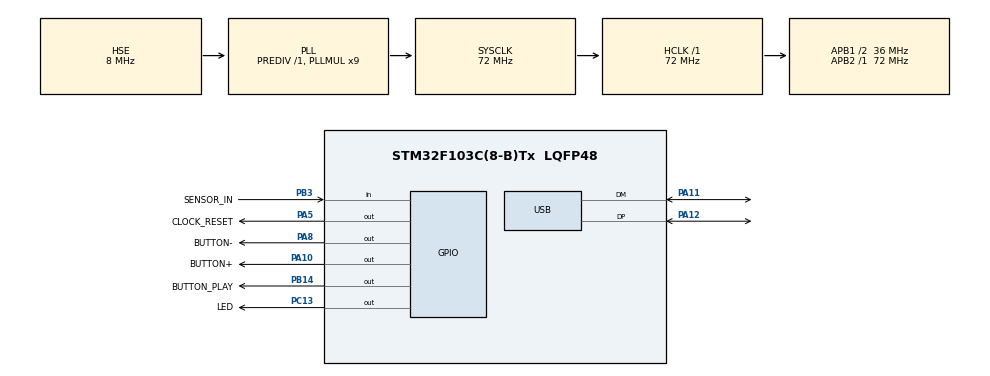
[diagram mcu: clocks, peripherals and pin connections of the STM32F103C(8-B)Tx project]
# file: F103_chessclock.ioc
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FREERTOS.MEMORY_ALLOCATION=1
FREERTOS.Tasks01=defaultTask,0,128,StartDefaultTask,Default,NULL,Static,defaultTaskBuffer,defaultTaskControlBlock;usbTask,0,128,StartUSBTask,Default,NULL,Static,usbTaskBuffer,usbTaskControlBlock
Mcu.Family=STM32F1
Mcu.Name=STM32F103C(8-B)Tx
Mcu.Package=LQFP48
NVIC.PriorityGroup=NVIC_PRIORITYGROUP_4
NVIC.TIM4_IRQn=true\:0\:0\:false\:false\:true\:false\:false\:true
NVIC.TimeBase=TIM4_IRQn
NVIC.TimeBaseIP=TIM4
NVIC.USB_LP_CAN1_RX0_IRQn=true\:5\:0\:false\:false\:true\:true\:false\:true
PA10.GPIO_Label=BUTTON+
PA10.Signal=GPIO_Output
PA11.Mode=Device
PA11.Signal=USB_DM
PA12.Mode=Device
PA12.Signal=USB_DP
PA13.Mode=Serial_Wire
PA13.Signal=SYS_JTMS-SWDIO
PA14.Mode=Serial_Wire
PA14.Signal=SYS_JTCK-SWCLK
PA5.GPIO_Label=CLOCK_RESET
PA5.GPIO_ModeDefaultOutputPP=GPIO_MODE_OUTPUT_OD
PA5.PinState=GPIO_PIN_SET
PA5.Signal=GPIO_Output
PA8.GPIO_Label=BUTTON-
PA8.Signal=GPIO_Output
PB14.GPIO_Label=BUTTON_PLAY
PB14.Signal=GPIO_Output
PB3.GPIO_Label=SENSOR_IN
PB3.Signal=GPIO_Input
PC13-TAMPER-RTC.GPIO_Label=LED
PC13-TAMPER-RTC.Signal=GPIO_Output
PD0-OSC_IN.Mode=HSE-External-Oscillator
PD0-OSC_IN.Signal=RCC_OSC_IN
PD1-OSC_OUT.Mode=HSE-External-Oscillator
PD1-OSC_OUT.Signal=RCC_OSC_OUT
ProjectManager.HeapSize=0x200
ProjectManager.StackSize=0x400
ProjectManager.TargetToolchain=STM32CubeIDE
RCC.AHBFreq_Value=72000000
RCC.APB1CLKDivider=RCC_HCLK_DIV2
RCC.APB1Freq_Value=36000000
RCC.APB1TimFreq_Value=72000000
RCC.APB2Freq_Value=72000000
RCC.APB2TimFreq_Value=72000000
RCC.HCLKFreq_Value=72000000
RCC.PLLMUL=RCC_PLL_MUL9
RCC.SYSCLKFreq_VALUE=72000000
RCC.SYSCLKSource=RCC_SYSCLKSOURCE_PLLCLK
RCC.USBFreq_Value=48000000
RCC.USBPrescaler=RCC_USBCLKSOURCE_PLL_DIV1_5
USB_DEVICE.APP_RX_DATA_SIZE=64
USB_DEVICE.APP_TX_DATA_SIZE=64
USB_DEVICE.CLASS_NAME_FS=CDC
USB_DEVICE.VirtualMode=Cdc
USB_DEVICE.VirtualModeFS=Cdc_FS
VP_FREERTOS_VS_CMSIS_V1.Mode=CMSIS_V1
VP_SYS_VS_tim4.Mode=TIM4
VP_USB_DEVICE_VS_USB_DEVICE_CDC_FS.Mode=CDC_FS
board=custom

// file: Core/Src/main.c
/* USER CODE BEGIN Header */
/**
  ******************************************************************************
  * @file           : main.c
  * @brief          : Main program body
  ******************************************************************************
  * @attention
  *
  * <h2><center>&copy; Copyright (c) 2021 STMicroelectronics.
  * All rights reserved.</center></h2>
  *
  * This software component is licensed by ST under BSD 3-Clause license,
  * the "License"; You may not use this file except in compliance with the
  * License. You may obtain a copy of the License at:
  *                        opensource.org/licenses/BSD-3-Clause
  *
  ******************************************************************************
  */
/* USER CODE END Header */
#include "main.h"
#include "cmsis_os.h"
#include "usb_device.h"

osThreadId defaultTaskHandle;
uint32_t defaultTaskBuffer[ 128 ];
osStaticThreadDef_t defaultTaskControlBlock;
osThreadId usbTaskHandle;
uint32_t usbTaskBuffer[ 128 ];
osStaticThreadDef_t usbTaskControlBlock;
/* USER CODE BEGIN PV */
char txBuf[64];
char rxBuf[64];
uint8_t receiveState = 0;
uint8_t switchState = 0;
/* USER CODE END PV */

void SystemClock_Config(void);
static void MX_GPIO_Init(void);
void StartDefaultTask(void const * argument);
void StartUSBTask(void const * argument);

/* USER CODE BEGIN 0 */
extern uint8_t CDC_Transmit_FS(uint8_t* Buf, uint16_t Len);
/* USER CODE END 0 */

int main(void)
{

  /* MCU Configuration--------------------------------------------------------*/

  /* Reset of all peripherals, Initializes the Flash interface and the Systick. */
  HAL_Init();

  /* Configure the system clock */
  SystemClock_Config();

  /* Initialize all configured peripherals */
  MX_GPIO_Init();

  /* Create the thread(s) */
  /* definition and creation of defaultTask */
  osThreadStaticDef(defaultTask, StartDefaultTask, osPriorityNormal, 0, 128, defaultTaskBuffer, &defaultTaskControlBlock);
  defaultTaskHandle = osThreadCreate(osThread(defaultTask), NULL);

  /* definition and creation of usbTask */
  osThreadStaticDef(usbTask, StartUSBTask, osPriorityNormal, 0, 128, usbTaskBuffer, &usbTaskControlBlock);
  usbTaskHandle = osThreadCreate(osThread(usbTask), NULL);

  /* Start scheduler */
  osKernelStart();

  /* We should never get here as control is now taken by the scheduler */
  /* Infinite loop */
  while (1)
  {

  }
}

void SystemClock_Config(void)
{
  RCC_OscInitTypeDef RCC_OscInitStruct = {0};
  RCC_ClkInitTypeDef RCC_ClkInitStruct = {0};
  RCC_PeriphCLKInitTypeDef PeriphClkInit = {0};

  /** Initializes the RCC Oscillators according to the specified parameters
  * in the RCC_OscInitTypeDef structure.
  */
  RCC_OscInitStruct.OscillatorType = RCC_OSCILLATORTYPE_HSE;
  RCC_OscInitStruct.HSEState = RCC_HSE_ON;
  RCC_OscInitStruct.HSEPredivValue = RCC_HSE_PREDIV_DIV1;
  RCC_OscInitStruct.HSIState = RCC_HSI_ON;
  RCC_OscInitStruct.PLL.PLLState = RCC_PLL_ON;
  RCC_OscInitStruct.PLL.PLLSource = RCC_PLLSOURCE_HSE;
  RCC_OscInitStruct.PLL.PLLMUL = RCC_PLL_MUL9;
  if (HAL_RCC_OscConfig(&RCC_OscInitStruct) != HAL_OK)
  {
    Error_Handler();
  }
  /** Initializes the CPU, AHB and APB buses clocks
  */
  RCC_ClkInitStruct.ClockType = RCC_CLOCKTYPE_HCLK|RCC_CLOCKTYPE_SYSCLK
                              |RCC_CLOCKTYPE_PCLK1|RCC_CLOCKTYPE_PCLK2;
  RCC_ClkInitStruct.SYSCLKSource = RCC_SYSCLKSOURCE_PLLCLK;
  RCC_ClkInitStruct.AHBCLKDivider = RCC_SYSCLK_DIV1;
  RCC_ClkInitStruct.APB1CLKDivider = RCC_HCLK_DIV2;
  RCC_ClkInitStruct.APB2CLKDivider = RCC_HCLK_DIV1;

  if (HAL_RCC_ClockConfig(&RCC_ClkInitStruct, FLASH_LATENCY_2) != HAL_OK)
  {
    Error_Handler();
  }
  PeriphClkInit.PeriphClockSelection = RCC_PERIPHCLK_USB;
  PeriphClkInit.UsbClockSelection = RCC_USBCLKSOURCE_PLL_DIV1_5;
  if (HAL_RCCEx_PeriphCLKConfig(&PeriphClkInit) != HAL_OK)
  {
    Error_Handler();
  }
}

static void MX_GPIO_Init(void)
{
  GPIO_InitTypeDef GPIO_InitStruct = {0};

  /* GPIO Ports Clock Enable */
  __HAL_RCC_GPIOC_CLK_ENABLE();
  __HAL_RCC_GPIOD_CLK_ENABLE();
  __HAL_RCC_GPIOA_CLK_ENABLE();
  __HAL_RCC_GPIOB_CLK_ENABLE();

  /*Configure GPIO pin Output Level */
  HAL_GPIO_WritePin(LED_GPIO_Port, LED_Pin, GPIO_PIN_RESET);

  /*Configure GPIO pin Output Level */
  HAL_GPIO_WritePin(CLOCK_RESET_GPIO_Port, CLOCK_RESET_Pin, GPIO_PIN_SET);

  /*Configure GPIO pin Output Level */
  HAL_GPIO_WritePin(BUTTON_PLAY_GPIO_Port, BUTTON_PLAY_Pin, GPIO_PIN_RESET);

  /*Configure GPIO pin Output Level */
  HAL_GPIO_WritePin(GPIOA, BUTTON__Pin|BUTTON_A10_Pin, GPIO_PIN_RESET);

  /*Configure GPIO pin : LED_Pin */
  GPIO_InitStruct.Pin = LED_Pin;
  GPIO_InitStruct.Mode = GPIO_MODE_OUTPUT_PP;
  GPIO_InitStruct.Pull = GPIO_NOPULL;
  GPIO_InitStruct.Speed = GPIO_SPEED_FREQ_LOW;
  HAL_GPIO_Init(LED_GPIO_Port, &GPIO_InitStruct);

  /*Configure GPIO pin : CLOCK_RESET_Pin */
  GPIO_InitStruct.Pin = CLOCK_RESET_Pin;
  GPIO_InitStruct.Mode = GPIO_MODE_OUTPUT_OD;
  GPIO_InitStruct.Pull = GPIO_NOPULL;
  GPIO_InitStruct.Speed = GPIO_SPEED_FREQ_LOW;
  HAL_GPIO_Init(CLOCK_RESET_GPIO_Port, &GPIO_InitStruct);

  /*Configure GPIO pin : BUTTON_PLAY_Pin */
  GPIO_InitStruct.Pin = BUTTON_PLAY_Pin;
  GPIO_InitStruct.Mode = GPIO_MODE_OUTPUT_PP;
  GPIO_InitStruct.Pull = GPIO_NOPULL;
  GPIO_InitStruct.Speed = GPIO_SPEED_FREQ_LOW;
  HAL_GPIO_Init(BUTTON_PLAY_GPIO_Port, &GPIO_InitStruct);

  /*Configure GPIO pins : BUTTON__Pin BUTTON_A10_Pin */
  GPIO_InitStruct.Pin = BUTTON__Pin|BUTTON_A10_Pin;
  GPIO_InitStruct.Mode = GPIO_MODE_OUTPUT_PP;
  GPIO_InitStruct.Pull = GPIO_NOPULL;
  GPIO_InitStruct.Speed = GPIO_SPEED_FREQ_LOW;
  HAL_GPIO_Init(GPIOA, &GPIO_InitStruct);

  /*Configure GPIO pin : SENSOR_IN_Pin */
  GPIO_InitStruct.Pin = SENSOR_IN_Pin;
  GPIO_InitStruct.Mode = GPIO_MODE_INPUT;
  GPIO_InitStruct.Pull = GPIO_NOPULL;
  HAL_GPIO_Init(SENSOR_IN_GPIO_Port, &GPIO_InitStruct);

}

/* USER CODE BEGIN 4 */
/**
  * @brief Count characters in char array
  * @param ptr: pointer to char array
  * @retval Number of characters in array
  */
uint16_t SizeofCharArray(char *ptr)
{
  /* Local variables */
  uint16_t len = 0;

  /* Search until end char */
  while (ptr[len] != '\0') {
    len++;
  }
  return len;
}
/* USER CODE END 4 */

void StartDefaultTask(void const * argument)
{
  /* init code for USB_DEVICE */
  MX_USB_DEVICE_Init();
  /* USER CODE BEGIN 5 */
  /* Infinite loop */
  for(;;)
  {
    osDelay(200);
    HAL_GPIO_TogglePin(GPIOC, GPIO_PIN_13);
    switchState = HAL_GPIO_ReadPin(GPIOB, GPIO_PIN_3);
    //HAL_GPIO_TogglePin(GPIOA, GPIO_PIN_5);
  }
  /* USER CODE END 5 */
}

void StartUSBTask(void const * argument)
{
  /* USER CODE BEGIN StartUSBTask */
  uint16_t Len = 0;
  /* Infinite loop */
  for(;;)
  {
	if (receiveState == 1){
	  // Dummy command
	  if ((rxBuf[0] == 'K') && (rxBuf[1] == 'A') && (rxBuf[2] == '\r')){ // KA = Keep alive
		__ASM("NOP");
	  }
	  // Reset clock
	  else if ((rxBuf[0] == 'R') && (rxBuf[1] == 'S') && (rxBuf[2] == 'T') && (rxBuf[3] == '\r')){
		sprintf(txBuf, "OK;%s", rxBuf);
		Len = SizeofCharArray((char*)txBuf);
		CDC_Transmit_FS((uint8_t*)txBuf, Len);
		HAL_GPIO_WritePin(GPIOA, GPIO_PIN_5, GPIO_PIN_RESET);
		osDelay(100);
		HAL_GPIO_WritePin(GPIOA, GPIO_PIN_5, GPIO_PIN_SET);
	  }
	  // Short press play button
	  else if ((rxBuf[0] == 'S') && (rxBuf[1] == 'P') && (rxBuf[2] == 'P') && (rxBuf[3] == '\r')){
		sprintf(txBuf, "OK;%s", rxBuf);
		Len = SizeofCharArray((char*)txBuf);
		CDC_Transmit_FS((uint8_t*)txBuf, Len);
		HAL_GPIO_WritePin(GPIOB, GPIO_PIN_14, GPIO_PIN_SET);
		osDelay(100);
		HAL_GPIO_WritePin(GPIOB, GPIO_PIN_14, GPIO_PIN_RESET);
	  }
	  // Long press play button
	  else if ((rxBuf[0] == 'L') && (rxBuf[1] == 'P') && (rxBuf[2] == 'P') && (rxBuf[3] == '\r')){
		sprintf(txBuf, "OK;%s", rxBuf);
		Len = SizeofCharArray((char*)txBuf);
		CDC_Transmit_FS((uint8_t*)txBuf, Len);
		HAL_GPIO_WritePin(GPIOB, GPIO_PIN_14, GPIO_PIN_SET);
		osDelay(3000);
		HAL_GPIO_WritePin(GPIOB, GPIO_PIN_14, GPIO_PIN_RESET);
	  }
	  // Short press minus button
	  else if ((rxBuf[0] == 'S') && (rxBuf[1] == 'P') && (rxBuf[2] == 'M') && (rxBuf[3] == '\r')){
		sprintf(txBuf, "OK;%s", rxBuf);
		Len = SizeofCharArray((char*)txBuf);
		CDC_Transmit_FS((uint8_t*)txBuf, Len);
		HAL_GPIO_WritePin(GPIOA, GPIO_PIN_8, GPIO_PIN_SET);
		osDelay(100);
		HAL_GPIO_WritePin(GPIOA, GPIO_PIN_8, GPIO_PIN_RESET);
	  }
	  // Short press plus button
	  else if ((rxBuf[0] == 'S') && (rxBuf[1] == 'P') && (rxBuf[2] == 'L') && (rxBuf[3] == '\r')){
		sprintf(txBuf, "OK;%s", rxBuf);
		Len = SizeofCharArray((char*)txBuf);
		CDC_Transmit_FS((uint8_t*)txBuf, Len);
		HAL_GPIO_WritePin(GPIOA, GPIO_PIN_10, GPIO_PIN_SET);
		osDelay(100);
		HAL_GPIO_WritePin(GPIOA, GPIO_PIN_10, GPIO_PIN_RESET);
	  }
	  // Read sensor
	  else if ((rxBuf[0] == 'R') && (rxBuf[1] == 'D') && (rxBuf[2] == 'S') && (rxBuf[3] == '\r')){
		switchState = HAL_GPIO_ReadPin(GPIOB, GPIO_PIN_3);
		sprintf(txBuf, "OK;%d\r\n", switchState);
		Len = SizeofCharArray((char*)txBuf);
		CDC_Transmit_FS((uint8_t*)txBuf, Len);
	  }
	  // Unrecognized command
	  else{
		sprintf(txBuf, "ERR;%s", rxBuf);
		Len = SizeofCharArray((char*)txBuf);
		CDC_Transmit_FS((uint8_t*)txBuf, Len);
	  }
	  receiveState = 0;
	}
	osDelay(10);
  }
  /* USER CODE END StartUSBTask */
}

 /**
  * @brief  Period elapsed callback in non blocking mode
  * @note   This function is called  when TIM4 interrupt took place, inside
  * HAL_TIM_IRQHandler(). It makes a direct call to HAL_IncTick() to increment
  * a global variable "uwTick" used as application time base.
  * @param  htim : TIM handle
  * @retval None
  */
void HAL_TIM_PeriodElapsedCallback(TIM_HandleTypeDef *htim)
{
  if (htim->Instance == TIM4) {
    HAL_IncTick();
  }
}

void Error_Handler(void)
{
  __disable_irq();
  while (1)
  {
  }
}

/************************ (C) COPYRIGHT STMicroelectronics *****END OF FILE****/
